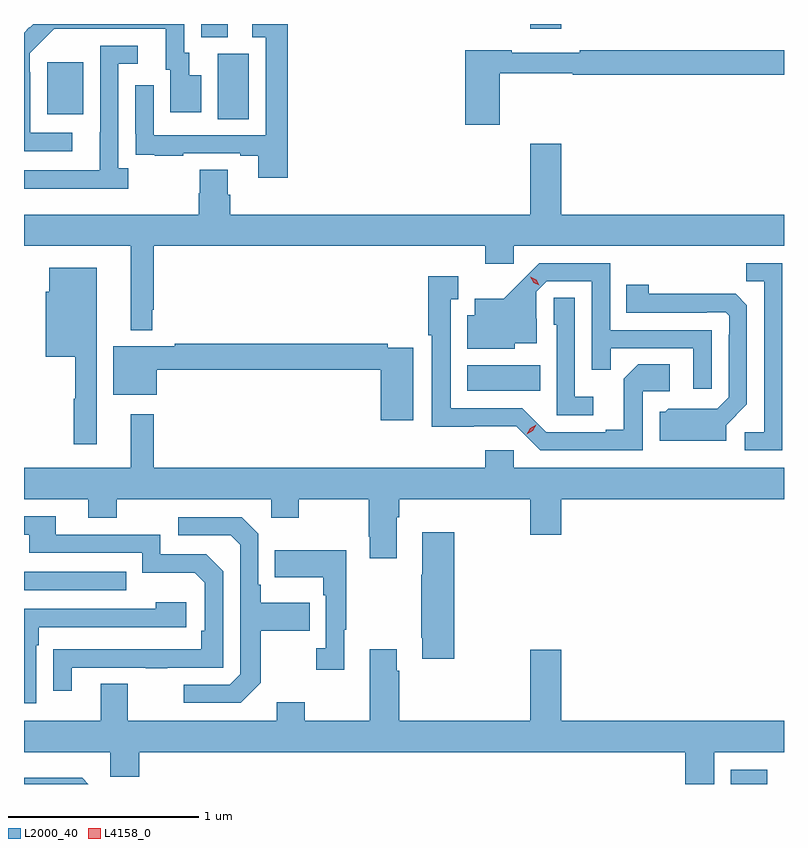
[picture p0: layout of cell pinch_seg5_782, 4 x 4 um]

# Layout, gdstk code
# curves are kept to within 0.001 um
import gdstk
lib = gdstk.Library(unit=1e-6, precision=1e-09)
def R(c, l, rs):  # rectangles x0, y0, x1, y1
    for r in rs: c.add(gdstk.rectangle(r[:2], r[2:], *l))
def P(c, l, *ps):  # polygons
    for p in ps: c.add(gdstk.Polygon(p, *l))
L2000_40 = (2000, 40)
L4158_0 = (4158, 0)

pinch_seg5_782 = lib.new_cell('pinch_seg5_782')
R(pinch_seg5_782, L2000_40, [(765.465,905.876,765.657,905.952), (761.744,906.897,762.281,906.993), (764.078,907.946,764.462,908.08), (762.764,909.376,762.928,909.72), (761.867,909.401,762.055,909.676), (762.677,909.805,762.817,909.876), (764.408,909.852,764.572,909.876)])
P(pinch_seg5_782, L2000_40, [(763.133,909.876),(762.945,909.876),(762.945,909.807),(763.017,909.807),(763.017,909.291),(762.426,909.291),(762.426,909.553),(762.33,909.553),(762.33,909.298),(762.331,909.298),(762.331,909.189),(762.433,909.189),(762.433,909.183),(762.581,909.183),(762.581,909.195),(762.881,909.195),(762.881,909.183),(762.977,909.183),(762.977,909.066),(763.133,909.066)],
  [(761.998,909.303),(761.778,909.303),(761.778,909.623),(761.775,909.623),(761.775,909.723),(761.904,909.852),(762.491,909.852),(762.491,909.636),(762.515,909.636),(762.515,909.411),(762.676,909.411),(762.676,909.607),(762.613,909.607),(762.613,909.726),(762.588,909.726),(762.588,909.876),(761.792,909.876),(761.773,909.857),(761.772,909.858),(761.744,909.83),(761.744,909.207),(761.998,909.207)],
  [(762.292,909.118),(762.24,909.118),(762.24,909.666),(762.343,909.666),(762.343,909.762),(762.144,909.762),(762.144,909.305),(762.143,909.305),(762.143,909.105),(761.744,909.105),(761.744,909.008),(762.292,909.008)],
  [(764.249,909.618),(764.632,909.618),(764.632,909.61),(765.744,909.61),(765.744,909.739),(764.668,909.739),(764.668,909.726),(764.312,909.726),(764.312,909.739),(764.066,909.739),(764.066,909.345),(764.249,909.345)],
  [(762.83,908.978),(762.817,908.978),(762.817,909.11),(762.67,909.11),(762.67,908.985),(762.665,908.985),(762.665,908.872),(761.744,908.872),(761.744,908.708),(762.305,908.708),(762.305,908.264),(762.42,908.264),(762.42,908.371),(762.427,908.371),(762.427,908.708),(764.171,908.708),(764.171,908.613),(764.322,908.613),(764.322,908.708),(765.744,908.708),(765.744,908.872),(764.572,908.872),(764.572,909.247),(764.408,909.247),(764.408,908.872),(762.83,908.872)],
  [(765.735,908.616),(765.544,908.616),(765.544,908.521),(765.639,908.521),(765.639,907.728),(765.537,907.728),(765.537,907.632),(765.735,907.632)],
  [(765.363,908.265),(764.829,908.265),(764.829,908.616),(764.456,908.616),(764.269,908.431),(764.117,908.431),(764.117,908.344),(764.078,908.344),(764.078,908.168),(764.328,908.168),(764.328,908.195),(764.443,908.195),(764.443,908.324),(764.439,908.324),(764.439,908.466),(764.496,908.523),(764.733,908.523),(764.733,908.056),(764.831,908.056),(764.831,908.169),(765.267,908.169),(765.267,907.956),(765.363,907.956)],
  [(762.127,908.593),(761.876,908.593),(761.876,908.466),(761.858,908.466),(761.858,908.126),(762.013,908.126),(762.013,907.904),(762.006,907.904),(762.006,907.665),(762.127,907.665)],
  [(765,907.944),(765.142,907.944),(765.142,908.084),(764.977,908.084),(764.901,908.008),(764.901,907.741),(764.807,907.741),(764.807,907.728),(764.493,907.728),(764.367,907.854),(763.99,907.854),(763.99,908.427),(764.029,908.427),(764.029,908.548),(763.872,908.548),(763.872,908.239),(763.889,908.239),(763.889,907.757),(764.334,907.758),(764.46,907.632),(765,907.632)],
  [(765.439,907.764),(765.549,907.874),(765.549,908.396),(765.49,908.455),(765.033,908.456),(765.033,908.503),(764.914,908.503),(764.914,908.355),(765.338,908.355),(765.338,908.358),(765.438,908.358),(765.456,908.34),(765.456,908.24),(765.453,908.24),(765.453,907.911),(765.393,907.851),(765.136,907.852),(765.12,907.836),(765.089,907.836),(765.089,907.682),(765.439,907.682)],
  [(764.74,907.915),(764.643,907.915),(764.643,908.435),(764.532,908.435),(764.532,908.292),(764.547,908.292),(764.547,907.818),(764.74,907.818)],
  [(763.792,908.172),(763.658,908.172),(763.658,908.192),(762.538,908.192),(762.538,908.179),(762.215,908.179),(762.215,907.925),(762.442,907.925),(762.442,908.056),(763.622,908.056),(763.622,907.791),(763.792,907.791)],
  [(763.705,907.28),(763.718,907.28),(763.718,907.376),(764.408,907.376),(764.408,907.188),(764.572,907.188),(764.572,907.376),(765.744,907.376),(765.744,907.54),(764.322,907.54),(764.322,907.633),(764.171,907.633),(764.171,907.54),(762.427,907.54),(762.427,907.822),(762.305,907.822),(762.305,907.54),(761.744,907.54),(761.744,907.376),(762.083,907.376),(762.083,907.277),(762.231,907.277),(762.231,907.376),(763.044,907.376),(763.044,907.277),(763.191,907.277),(763.191,907.376),(763.558,907.376),(763.558,907.177),(763.565,907.177),(763.565,907.065),(763.705,907.065)],
  [(761.995,906.489),(762.385,906.489),(762.385,906.484),(762.497,906.484),(762.497,906.489),(762.792,906.489),(762.792,906.996),(762.702,907.086),(762.462,907.086),(762.462,907.188),(761.911,907.188),(761.911,907.284),(761.744,907.284),(761.744,907.188),(761.771,907.188),(761.771,907.092),(762.366,907.092),(762.366,906.989),(762.643,906.989),(762.696,906.936),(762.696,906.682),(762.676,906.682),(762.676,906.585),(761.899,906.584),(761.899,906.366),(761.995,906.366)],
  [(762.991,906.409),(762.991,906.682),(763.247,906.682),(763.247,906.829),(762.991,906.829),(762.991,906.925),(762.978,906.925),(762.978,907.194),(762.891,907.281),(762.555,907.281),(762.555,907.185),(762.831,907.185),(762.882,907.134),(762.882,906.453),(762.828,906.399),(762.585,906.399),(762.585,906.303),(762.885,906.303)],
  [(764.009,907.201),(763.841,907.201),(763.841,906.977),(763.834,906.977),(763.834,906.646),(763.841,906.646),(763.841,906.534),(764.009,906.534)],
  [(763.429,906.689),(763.441,906.689),(763.441,907.105),(763.063,907.105),(763.063,906.965),(763.32,906.965),(763.32,906.869),(763.332,906.869),(763.332,906.59),(763.281,906.59),(763.281,906.477),(763.429,906.477)],
  [(761.808,906.605),(761.821,906.605),(761.821,906.702),(762.598,906.702),(762.598,906.832),(762.437,906.832),(762.437,906.798),(761.744,906.798),(761.744,906.3),(761.808,906.3)],
  [(764.572,906.583),(764.408,906.583),(764.408,906.208),(763.718,906.208),(763.718,906.473),(763.705,906.473),(763.705,906.586),(763.565,906.586),(763.565,906.208),(763.221,906.208),(763.221,906.307),(763.073,906.307),(763.073,906.208),(762.289,906.208),(762.289,906.403),(762.149,906.403),(762.149,906.208),(761.744,906.208),(761.744,906.044),(762.198,906.044),(762.198,905.913),(762.35,905.913),(762.35,906.044),(765.224,906.044),(765.224,905.876),(765.376,905.876),(765.376,906.044),(765.744,906.044),(765.744,906.208),(764.572,906.208)],
  [(762.05,905.908),(761.744,905.908),(761.744,905.876),(762.082,905.876)])
P(pinch_seg5_782, L4158_0, [(764.456,908.5),(764.426,908.515),(764.409,908.545),(764.409,908.545),(764.409,908.545),(764.439,908.53),(764.456,908.5),(764.456,908.5)],
  [(764.39,907.717),(764.39,907.717),(764.408,907.749),(764.439,907.768),(764.44,907.768),(764.44,907.768),(764.422,907.735),(764.39,907.717)])

lib.write_gds('pinch_seg5_782.gds')
